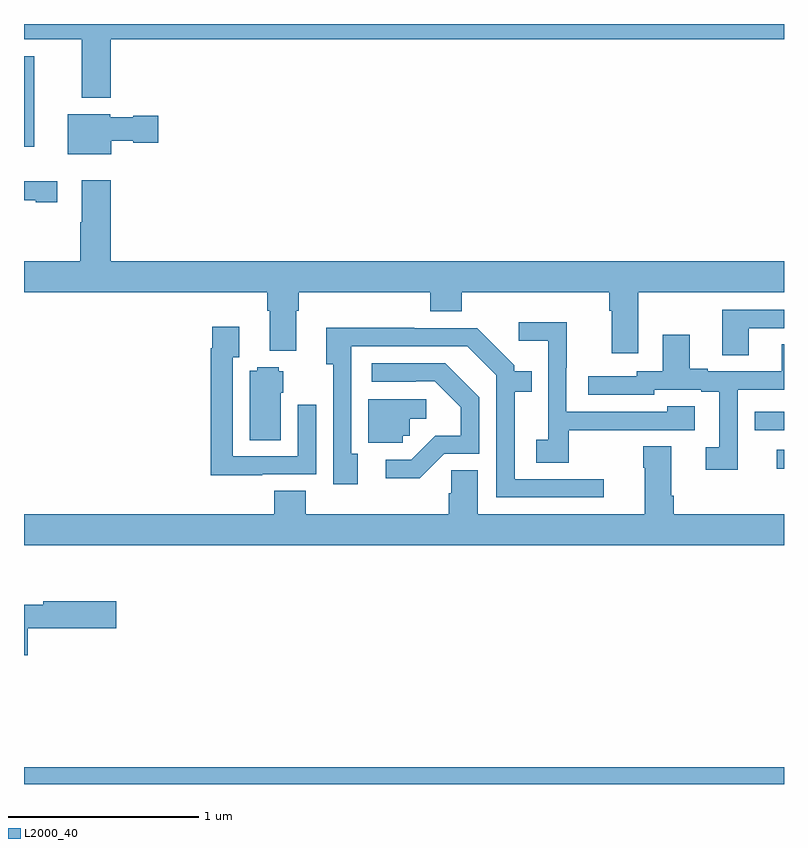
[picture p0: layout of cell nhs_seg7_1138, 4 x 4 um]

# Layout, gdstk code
import gdstk
lib = gdstk.Library(unit=1e-6, precision=1e-09)
def R(c, l, rs):  # rectangles x0, y0, x1, y1
    for r in rs: c.add(gdstk.rectangle(r[:2], r[2:], *l))
def P(c, l, *ps):  # polygons
    for p in ps: c.add(gdstk.Polygon(p, *l))
L2000_40 = (2000, 40)

nhs_seg7_1138 = lib.new_cell('nhs_seg7_1138')
R(nhs_seg7_1138, L2000_40, [(191,1026,195,1026.088), (194.961,1027.66,195,1027.758), (191,1029.353,191.053,1029.829)])
P(nhs_seg7_1138, L2000_40, [(191.456,1029.92),(195,1029.92),(195,1030),(191,1030),(191,1029.92),(191.303,1029.92),(191.303,1029.611),(191.456,1029.611)],
  [(191.458,1029.386),(191.574,1029.386),(191.574,1029.374),(191.707,1029.374),(191.707,1029.516),(191.574,1029.516),(191.574,1029.508),(191.454,1029.508),(191.454,1029.526),(191.231,1029.526),(191.231,1029.314),(191.458,1029.314)],
  [(194.233,1028.588),(195,1028.588),(195,1028.752),(191.456,1028.752),(191.456,1029.178),(191.303,1029.178),(191.303,1028.957),(191.296,1028.957),(191.296,1028.752),(191,1028.752),(191,1028.588),(192.281,1028.588),(192.281,1028.492),(192.293,1028.492),(192.293,1028.279),(192.433,1028.279),(192.433,1028.492),(192.446,1028.492),(192.446,1028.588),(193.139,1028.588),(193.139,1028.489),(193.304,1028.489),(193.304,1028.588),(194.081,1028.588),(194.081,1028.492),(194.093,1028.492),(194.093,1028.268),(194.233,1028.268)],
  [(191.176,1029.173),(191,1029.173),(191,1029.073),(191.063,1029.073),(191.063,1029.063),(191.176,1029.063)],
  [(194.815,1028.4),(195,1028.4),(195,1028.496),(194.675,1028.496),(194.675,1028.257),(194.815,1028.257)],
  [(193.867,1027.861),(194.171,1027.861),(194.171,1027.863),(194.53,1027.863),(194.53,1027.987),(194.385,1027.987),(194.385,1027.959),(193.854,1027.959),(193.854,1028.192),(193.857,1028.192),(193.857,1028.431),(193.605,1028.431),(193.605,1028.333),(193.758,1028.333),(193.758,1027.812),(193.695,1027.812),(193.695,1027.69),(193.867,1027.69)],
  [(192.253,1027.629),(192.537,1027.629),(192.537,1027.996),(192.441,1027.996),(192.441,1027.725),(192.099,1027.725),(192.099,1028.246),(192.133,1028.246),(192.133,1028.407),(191.991,1028.407),(191.991,1028.294),(191.983,1028.294),(191.983,1027.625),(192.253,1027.625)],
  [(194.05,1027.605),(193.582,1027.605),(193.582,1028.064),(193.673,1028.064),(193.673,1028.173),(193.581,1028.173),(193.581,1028.205),(193.386,1028.4),(193.055,1028.4),(193.055,1028.402),(192.59,1028.402),(192.59,1028.21),(192.627,1028.21),(192.627,1027.578),(192.757,1027.578),(192.757,1027.738),(192.723,1027.738),(192.723,1028.304),(193.332,1028.304),(193.485,1028.151),(193.485,1027.509),(194.05,1027.509)],
  [(194.757,1028.076),(195,1028.076),(195,1028.315),(194.987,1028.315),(194.987,1028.172),(194.599,1028.172),(194.599,1028.185),(194.503,1028.185),(194.503,1028.365),(194.363,1028.365),(194.363,1028.172),(194.226,1028.172),(194.226,1028.145),(193.971,1028.145),(193.971,1028.049),(194.316,1028.049),(194.316,1028.076),(194.564,1028.076),(194.564,1028.064),(194.66,1028.064),(194.66,1027.773),(194.589,1027.773),(194.589,1027.653),(194.757,1027.653)],
  [(193.212,1027.737),(193.395,1027.737),(193.395,1028.035),(193.216,1028.214),(192.831,1028.214),(192.831,1028.118),(193.061,1028.118),(193.061,1028.121),(193.161,1028.121),(193.298,1027.984),(193.298,1027.834),(193.165,1027.834),(193.038,1027.707),(192.903,1027.707),(192.903,1027.61),(193.084,1027.61)],
  [(192.352,1028.058),(192.364,1028.058),(192.364,1028.172),(192.342,1028.172),(192.342,1028.194),(192.228,1028.194),(192.228,1028.176),(192.188,1028.176),(192.188,1027.81),(192.352,1027.81)],
  [(192.993,1027.833),(193.029,1027.833),(193.029,1027.922),(193.117,1027.922),(193.117,1028.025),(192.812,1028.025),(192.812,1027.797),(192.993,1027.797)],
  [(195,1027.959),(194.959,1027.959),(194.959,1027.958),(194.847,1027.958),(194.847,1027.863),(195,1027.863)],
  [(195,1027.42),(194.42,1027.42),(194.42,1027.516),(194.407,1027.516),(194.407,1027.777),(194.26,1027.777),(194.26,1027.664),(194.267,1027.664),(194.267,1027.42),(193.387,1027.42),(193.387,1027.652),(193.249,1027.652),(193.249,1027.53),(193.235,1027.53),(193.235,1027.42),(192.482,1027.42),(192.482,1027.544),(192.317,1027.544),(192.317,1027.42),(191,1027.42),(191,1027.256),(195,1027.256)],
  [(191.02,1026.821),(191.485,1026.821),(191.485,1026.963),(191.1,1026.963),(191.1,1026.943),(191,1026.943),(191,1026.677),(191.02,1026.677)])

lib.write_gds('nhs_seg7_1138.gds')
